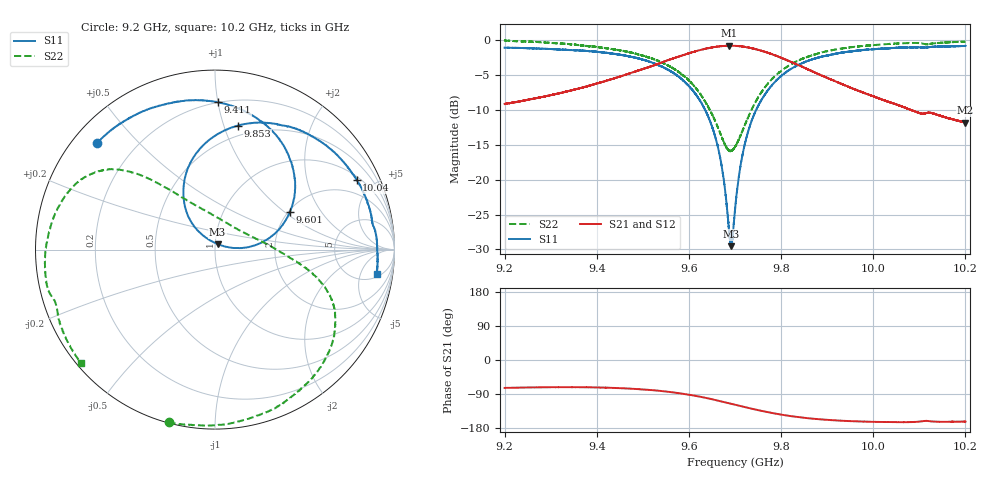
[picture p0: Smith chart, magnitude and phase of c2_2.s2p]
!Agilent Technologies,N5242A,MY51221714,A.09.90.19
!Agilent N5242A: A.09.90.19
!Date: Tuesday, March 26, 2024 17:01:52
!Correction: S11(Full 2 Port(1,2))
!S21(Full 2 Port(1,2))
!S12(Full 2 Port(1,2))
!S22(Full 2 Port(1,2))
!S2P File: Measurements: S11, S21, S12, S22:
# Hz S  dB  R 50
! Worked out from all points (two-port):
!   16001 points, 9.2 GHz to 10.2 GHz, reference 50 ohm
!   highest |S21| = -0.76 dB at 9.687 GHz (marker M1); lowest = -11.8 dB at 10.2 GHz (marker M2)
!   |S21| within 3 dB of the highest: 9.516258 GHz to 9.516745 GHz (487.5 kHz wide, 0.00512 % of centre); 9.517 GHz to 9.845 GHz (327.8 MHz wide, 3.39 % of centre)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
!   lowest |S11| = -29.5 dB at 9.691 GHz (marker M3), VSWR 1.07, Z = 51.4 + j3.1 ohm
!   |S11| at or under -10 dB: 9.635 GHz to 9.746 GHz (110.4 MHz wide, 1.14 % of centre); 9.745711 GHz to 9.745832 GHz (120.9 kHz wide, 0.00124 % of centre)
!   |S22| runs from -15.9 to 0.0 dB; largest |S21 - S12| = 0.012
!   S11 on the Smith chart (normalised r, x): 9.2 GHz: 0.07, +0.38; 9.411 GHz: 0.20, +1.00; 9.601 GHz: 2.04, +1.09; 9.853 GHz: 0.41, +1.12; 10.04 GHz: 1.18, +3.99; 10.2 GHz: 6, -10
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9.2e9  -1.05 137.8  -9.13 -73.7  -9.10 -74.5  -0.03 -104.9
9.277188e9  -1.19 120.9  -8.17 -72.1  -8.18 -72.8  -0.26 -84.0
9.366688e9  -1.47 100.0  -6.81 -71.9  -6.80 -72.6  -0.73 -60.9
9.4105e9  -1.71 88.8  -6.00 -72.7  -5.99 -73.5  -1.04 -50.2
9.533375e9  -3.56 52.0  -3.36 -81.0  -3.34 -81.6  -2.93 -23.6
9.601062e9  -6.64 26.6  -1.83 -91.8  -1.82 -92.4  -5.81 -11.2
9.657125e9  -13.87 5.2  -0.94 -105.4  -0.94 -106.0  -11.62 10.0
9.673438e9  -18.98 4.3  -0.82 -110.0  -0.82 -110.6  -14.24 27.3
9.686688e9  -27.08 30.2  -0.76 -113.9  -0.77 -114.4  -15.82 52.1
9.691125e9  -29.53 64.5  -0.78 -115.3  -0.76 -115.8  -15.87 61.9
9.7e9  -24.41 119.6  -0.79 -117.9  -0.78 -118.5  -15.27 80.0
9.71875e9  -15.64 132.0  -0.92 -123.5  -0.90 -124.1  -12.60 107.2
9.746875e9  -9.85 122.4  -1.30 -131.5  -1.29 -132.0  -8.55 124.5
9.79125e9  -5.65 103.8  -2.26 -142.2  -2.28 -142.8  -4.86 134.3
9.853375e9  -3.07 79.5  -4.03 -153.0  -4.02 -153.6  -2.47 143.7
9.866688e9  -2.75 74.9  -4.42 -154.6  -4.41 -155.1  -2.15 146.0
9.935375e9  -1.74 53.3  -6.38 -160.5  -6.38 -161.2  -1.14 158.3
1.003338e10  -1.14 27.7  -8.83 -163.7  -8.82 -164.3  -0.52 179.3
1.004e10  -1.12 26.1  -8.97 -163.7  -8.97 -164.4  -0.49 -179.2
1.009662e10  -1.00 12.9  -10.35 -162.9  -10.35 -163.6  -0.38 -166.5
1.019988e10  -0.82 -8.5  -11.80 -162.6  -11.80 -163.0  -0.19 -139.6
1.02e10  -0.79 -8.5  -11.78 -162.5  -11.79 -163.1  -0.20 -139.6
